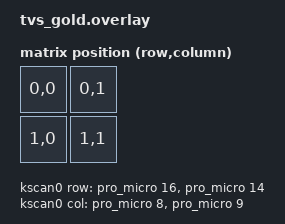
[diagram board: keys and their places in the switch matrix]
#include <dt-bindings/zmk/matrix_transform.h>

/ {
    
    chosen {
        zmk,matrix-transform = &default_transform;
    };
    kscan0: kscan {
        compatible = "zmk,kscan-gpio-matrix";
        diode-direction = "col2row";

        row-gpios = <&pro_micro 16 (GPIO_ACTIVE_HIGH | GPIO_PULL_DOWN)>,
                    <&pro_micro 14 (GPIO_ACTIVE_HIGH | GPIO_PULL_DOWN)>;
        col-gpios =  <&pro_micro 8 (GPIO_ACTIVE_HIGH)>,
                    <&pro_micro 9 (GPIO_ACTIVE_HIGH)>;
    };


    default_transform: matrix_transform {
        compatible = "zmk,matrix-transform";
        rows = <2>;
        columns = <2>;

        map = <
            RC(0, 0) RC(0, 1)
            RC(1, 0) RC(1, 1)
        >;
    };
};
